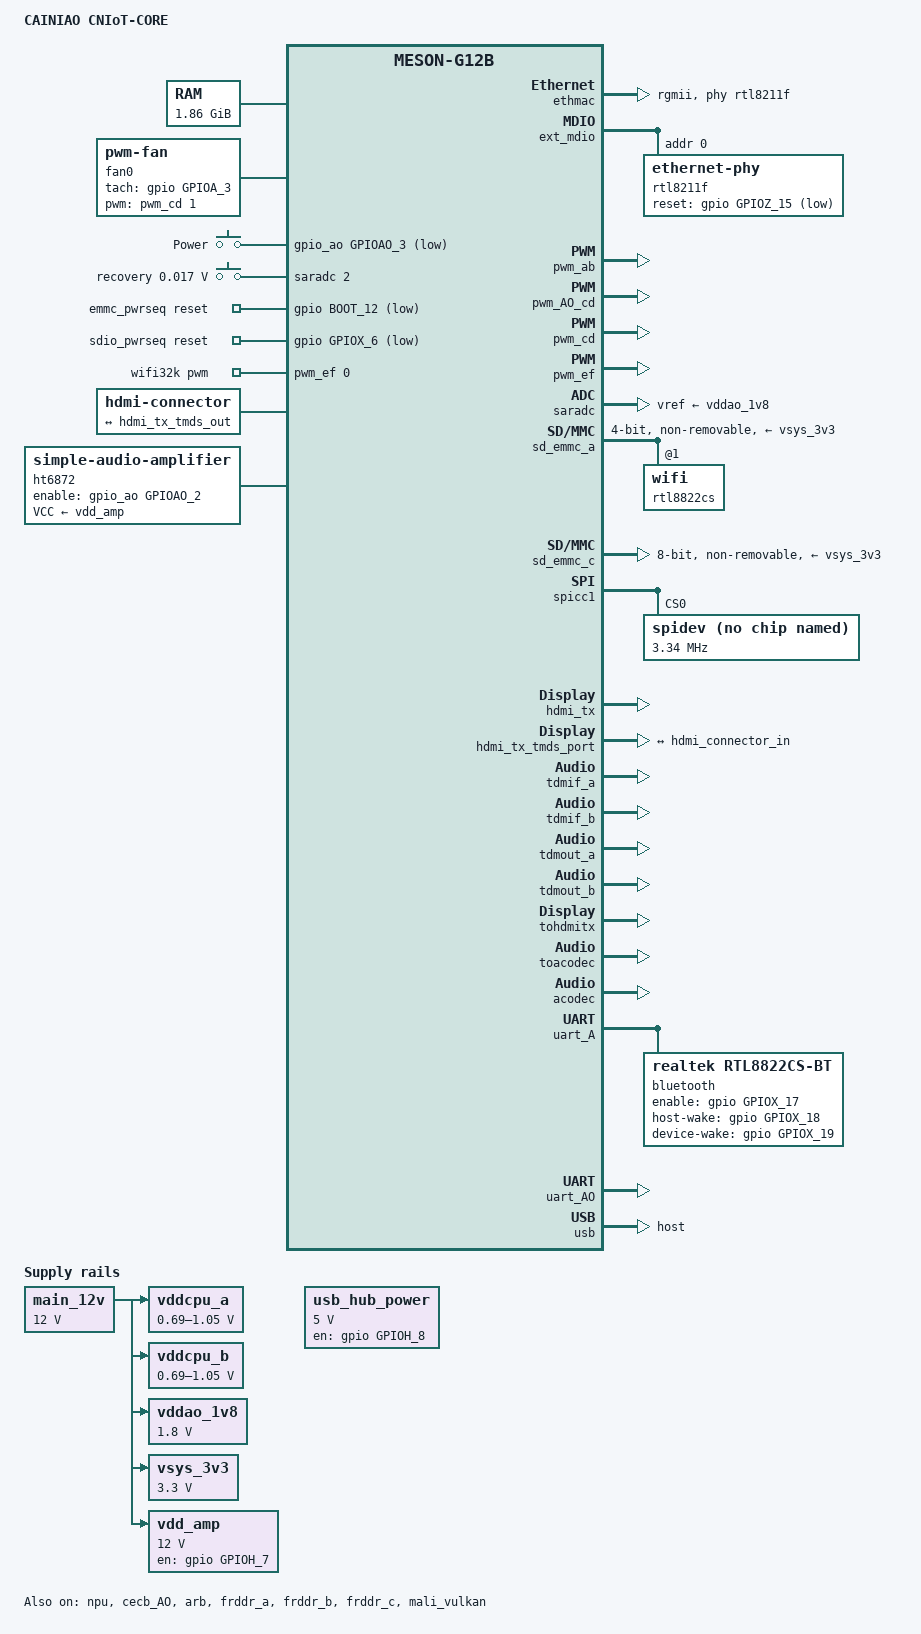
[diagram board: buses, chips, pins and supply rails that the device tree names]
// SPDX-License-Identifier: (GPL-2.0+ OR MIT)
/*
 * Copyright (c) 2025 ROCKNIX (https://github.com/ROCKNIX)
 *
 * Amlogic A311D (G12B) "CAINIAO CNIoT-CORE" / LEMO CORE A311D.
 *
 * P1 bring-up set: memory, CPU supplies/OPP, USB (root medium), HDMI,
 * debug UART, power/recovery keys and the dual GPU nodes (mali / mali_vulkan).
 *
 * P2 additions (this revision, adapted from the retro98boy/armbian-build
 * meson64-6.18 board file): RGMII Ethernet (RTL8211F on ext_mdio), eMMC,
 * SDIO WiFi RTL8822CS + BT (uart_A), axg sound card (TDM + tohdmitx/
 * toacodec + ht6872 speaker amplifier), pwm fan with tachometer,
 * WS2812 LEDs via spicc1/spidev, HDMI connector + CEC.
 *
 * Board-specific policies kept from P1 (differ from the armbian/batocera
 * reference):
 *  - GPU stack: "mali_vulkan" (arm,mali-midgard) is the vendor DDK
 *    (mali_kbase) node used by the default libmali stack; the panfrost
 *    node "mali" is kept but disabled. meson-g12b-a311d-cainiao-cniot-core-
 *    panfrost.dts flips them.
 *  - USB hub power enables of the dock are merged into usb_hub_power
 *    (GPIOH_8 + GPIOAO_6 + GPIOA_14 held high = side contacts selected).
 *  - adc-keys recovery button maps to KEY_POWER @ 17000uV.
 */

/dts-v1/;

#include <dt-bindings/clock/g12a-clkc.h>
#include <dt-bindings/gpio/gpio.h>
#include <dt-bindings/gpio/meson-g12a-gpio.h>
#include <dt-bindings/input/input.h>
#include <dt-bindings/interrupt-controller/arm-gic.h>
#include <dt-bindings/interrupt-controller/irq.h>
#include <dt-bindings/reset/amlogic,meson-g12a-reset.h>
#include <dt-bindings/sound/meson-g12a-toacodec.h>
#include <dt-bindings/sound/meson-g12a-tohdmitx.h>

#include "meson-g12b-a311d.dtsi"

/ {
	compatible = "cainiao,cniot-core", "amlogic,a311d", "amlogic,g12b";
	model = "CAINIAO CNIoT-CORE";

	aliases {
		serial0 = &uart_AO;
		ethernet0 = &ethmac;
		rtc1 = &vrtc;
	};

	chosen {
		stdout-path = "serial0:115200n8";
	};

	memory@0 {
		device_type = "memory";
		/* 2000MB, the size the vendor boot chain maps for this board */
		reg = <0x0 0x0 0x0 0x77359400>;
	};

	fan0: pwm-fan {
		compatible = "pwm-fan";
		#cooling-cells = <2>;
		cooling-levels = <0 120 170 220>;
		pwms = <&pwm_cd 1 40000 1>;
		tach-gpio = <&gpio GPIOA_3 GPIO_ACTIVE_HIGH>;
	};

	main_12v: regulator-main-12v {
		compatible = "regulator-fixed";
		regulator-name = "12V";
		regulator-min-microvolt = <12000000>;
		regulator-max-microvolt = <12000000>;
		regulator-always-on;
		regulator-boot-on;
	};

	vddcpu_a: regulator-vddcpu-a {
		compatible = "pwm-regulator";
		regulator-name = "VDDCPU_A";
		regulator-min-microvolt = <690000>;
		regulator-max-microvolt = <1050000>;
		pwm-supply = <&main_12v>;
		pwms = <&pwm_ab 0 1250 0>;
		pwm-dutycycle-range = <100 0>;
		regulator-boot-on;
		regulator-always-on;
	};

	vddcpu_b: regulator-vddcpu-b {
		compatible = "pwm-regulator";
		regulator-name = "VDDCPU_B";
		regulator-min-microvolt = <690000>;
		regulator-max-microvolt = <1050000>;
		pwm-supply = <&main_12v>;
		pwms = <&pwm_AO_cd 1 1250 0>;
		pwm-dutycycle-range = <100 0>;
		regulator-boot-on;
		regulator-always-on;
	};

	/* USB hub power enables of the dock (kept on during P1) */
	usb_hub_power: regulator-usb-hub-power {
		compatible = "regulator-fixed";
		regulator-name = "USB_HUB_POWER";
		gpios = <&gpio GPIOH_8 GPIO_ACTIVE_HIGH>,
			<&gpio_ao GPIOAO_6 GPIO_ACTIVE_HIGH>,
			<&gpio GPIOA_14 GPIO_ACTIVE_HIGH>;
		regulator-min-microvolt = <5000000>;
		regulator-max-microvolt = <5000000>;
		regulator-always-on;
		regulator-boot-on;
		enable-active-high;
	};

	vddao_1v8: regulator-vddao-1v8 {
		compatible = "regulator-fixed";
		regulator-name = "vddao_1v8";
		regulator-min-microvolt = <1800000>;
		regulator-max-microvolt = <1800000>;
		regulator-always-on;
		regulator-boot-on;
		vin-supply = <&main_12v>;
	};

	vsys_3v3: regulator-vsys-3v3 {
		compatible = "regulator-fixed";
		regulator-name = "vsys_3v3";
		regulator-min-microvolt = <3300000>;
		regulator-max-microvolt = <3300000>;
		regulator-always-on;
		regulator-boot-on;
		vin-supply = <&main_12v>;
	};

	/* Speaker amplifier supply (ht6872 VCC) */
	vdd_amp: regulator-vdd-amp {
		compatible = "regulator-fixed";
		regulator-name = "vdd_amp";
		regulator-min-microvolt = <12000000>;
		regulator-max-microvolt = <12000000>;
		enable-active-high;
		gpios = <&gpio GPIOH_7 GPIO_ACTIVE_HIGH>;
		regulator-always-on;
		regulator-boot-on;
		vin-supply = <&main_12v>;
	};

	keys {
		compatible = "gpio-keys-polled";
		poll-interval = <100>;

		power-button {
			label = "Power";
			linux,code = <KEY_POWER>;
			gpios = <&gpio_ao GPIOAO_3 GPIO_ACTIVE_LOW>;
			linux,wakeup;
		};
	};

	adc-keys {
		compatible = "adc-keys";
		io-channels = <&saradc 2>;
		io-channel-names = "buttons";
		keyup-threshold-microvolt = <1710000>;

		recovery-button {
			label = "recovery";
			linux,code = <KEY_POWER>;
			press-threshold-microvolt = <17000>;
		};
	};

	emmc_pwrseq: emmc-pwrseq {
		compatible = "mmc-pwrseq-emmc";
		reset-gpios = <&gpio BOOT_12 GPIO_ACTIVE_LOW>;
	};

	sdio_pwrseq: sdio-pwrseq {
		compatible = "mmc-pwrseq-simple";
		reset-gpios = <&gpio GPIOX_6 GPIO_ACTIVE_LOW>;
		clocks = <&wifi32k>;
		clock-names = "ext_clock";
	};

	wifi32k: wifi32k {
		compatible = "pwm-clock";
		#clock-cells = <0>;
		clock-frequency = <32768>;
		pwms = <&pwm_ef 0 30518 0>; /* PWM_E at 32.768KHz */
	};

	hdmi-connector {
		compatible = "hdmi-connector";
		type = "a";

		port {
			hdmi_connector_in: endpoint {
				remote-endpoint = <&hdmi_tx_tmds_out>;
			};
		};
	};

	ht6872: speaker-amplifier {
		compatible = "simple-audio-amplifier";
		enable-gpios = <&gpio_ao GPIOAO_2 GPIO_ACTIVE_HIGH>;
		VCC-supply = <&vdd_amp>;
		sound-name-prefix = "Speaker Amplifier";
	};

	sound {
		compatible = "amlogic,axg-sound-card";
		model = "cniot-core";
		audio-widgets = "Speaker", "Internal Speaker";
		audio-aux-devs = <&tdmout_a>, <&tdmout_b>, <&ht6872>;
		audio-routing = "TDMOUT_A IN 0", "FRDDR_A OUT 0",
				"TDMOUT_A IN 1", "FRDDR_B OUT 0",
				"TDMOUT_A IN 2", "FRDDR_C OUT 0",
				"TDM_A Playback", "TDMOUT_A OUT",
				"TDMOUT_B IN 0", "FRDDR_A OUT 1",
				"TDMOUT_B IN 1", "FRDDR_B OUT 1",
				"TDMOUT_B IN 2", "FRDDR_C OUT 1",
				"TDM_B Playback", "TDMOUT_B OUT",
				"Speaker Amplifier INL", "ACODEC LOLP",
				"Speaker Amplifier INR", "ACODEC LORP",
				"Internal Speaker", "Speaker Amplifier OUTL",
				"Internal Speaker", "Speaker Amplifier OUTR";

		clocks = <&clkc CLKID_MPLL2>,
			 <&clkc CLKID_MPLL0>,
			 <&clkc CLKID_MPLL1>;

		assigned-clocks = <&clkc CLKID_MPLL2>,
				  <&clkc CLKID_MPLL0>,
				  <&clkc CLKID_MPLL1>;
		assigned-clock-parents = <0>, <0>, <0>;
		assigned-clock-rates = <294912000>,
				       <270950400>,
				       <393216000>;

		dai-link-0 {
			sound-dai = <&frddr_a>;
		};

		dai-link-1 {
			sound-dai = <&frddr_b>;
		};

		dai-link-2 {
			sound-dai = <&frddr_c>;
		};

		/* 8ch hdmi interface */
		dai-link-3 {
			sound-dai = <&tdmif_a>;
			dai-format = "i2s";
			dai-tdm-slot-tx-mask-0 = <1 1>;
			dai-tdm-slot-tx-mask-1 = <1 1>;
			dai-tdm-slot-tx-mask-2 = <1 1>;
			dai-tdm-slot-tx-mask-3 = <1 1>;
			mclk-fs = <256>;

			codec-0 {
				sound-dai = <&tohdmitx TOHDMITX_I2S_IN_A>;
			};

			codec-1 {
				sound-dai = <&toacodec TOACODEC_IN_A>;
			};
		};

		/* 8ch hdmi interface */
		dai-link-4 {
			sound-dai = <&tdmif_b>;
			dai-format = "i2s";
			dai-tdm-slot-tx-mask-0 = <1 1>;
			dai-tdm-slot-tx-mask-1 = <1 1>;
			dai-tdm-slot-tx-mask-2 = <1 1>;
			dai-tdm-slot-tx-mask-3 = <1 1>;
			mclk-fs = <256>;

			codec-0 {
				sound-dai = <&tohdmitx TOHDMITX_I2S_IN_B>;
			};

			codec-1 {
				sound-dai = <&toacodec TOACODEC_IN_B>;
			};
		};

		/* hdmi glue */
		dai-link-5 {
			sound-dai = <&tohdmitx TOHDMITX_I2S_OUT>;

			codec {
				sound-dai = <&hdmi_tx>;
			};
		};

		/* acodec glue */
		dai-link-6 {
			sound-dai = <&toacodec TOACODEC_OUT>;

			codec {
				sound-dai = <&acodec>;
			};
		};
	};

	/* Vendor GPU DDK node (meson platform): default libmali stack */
	mali_vulkan: gpu_mali_vulkan@ffe40000 {
		compatible = "arm,mali-midgard";
		reg = <0x0 0xffe40000 0x0 0x40000>,
			<0x0 0xffd01000 0x0 0x1000>,
			<0x0 0xff800000 0x0 0x1000>,
			<0x0 0xff63c000 0x0 0x1000>;
		interrupt-parent = <&gic>;
		interrupts = <GIC_SPI 160 IRQ_TYPE_LEVEL_HIGH>,
			     <GIC_SPI 161 IRQ_TYPE_LEVEL_HIGH>,
			     <GIC_SPI 162 IRQ_TYPE_LEVEL_HIGH>;
		interrupt-names = "GPU", "MMU", "JOB";
		clocks = <&clkc CLKID_MALI>;
		clock-names = "clk_mali";
		resets = <&reset RESET_DVALIN_CAPB3>, <&reset RESET_DVALIN>;
		operating-points-v2 = <&gpu_opp_table>;
		#cooling-cells = <2>;
		system-coherency = <0>;
		power_policy = "always_on";
		status = "okay";
	};
};

/* Panfrost node: kept disabled, enabled by the *-panfrost dtb variant */
&mali {
	status = "disabled";
};

&cpu0 {
	cpu-supply = <&vddcpu_b>;
};

&cpu1 {
	cpu-supply = <&vddcpu_b>;
};

&cpu100 {
	cpu-supply = <&vddcpu_a>;
};

&cpu101 {
	cpu-supply = <&vddcpu_a>;
};

&cpu102 {
	cpu-supply = <&vddcpu_a>;
};

&cpu103 {
	cpu-supply = <&vddcpu_a>;
};

/*
 * Map the pwm fan to the CPU thermal zone (dtsi already has map0/map1
 * for the little/big clusters).
 */
&cpu_thermal {
	trips {
		cpu_active: cpu-active {
			temperature = <55000>; /* millicelsius */
			hysteresis = <5000>; /* millicelsius */
			type = "active";
		};
	};

	cooling-maps {
		map2 {
			trip = <&cpu_active>;
			cooling-device = <&fan0 THERMAL_NO_LIMIT THERMAL_NO_LIMIT>;
		};
	};
};

&ethmac {
	pinctrl-0 = <&eth_pins>, <&eth_rgmii_pins>;
	pinctrl-names = "default";
	status = "okay";
	phy-mode = "rgmii";
	phy-handle = <&rtl8211f>;
	amlogic,tx-delay-ns = <2>;
};

&ext_mdio {
	rtl8211f: ethernet-phy@0 {
		reg = <0>;
		max-speed = <1000>;

		reset-assert-us = <10000>;
		reset-deassert-us = <80000>;
		reset-gpios = <&gpio GPIOZ_15 (GPIO_ACTIVE_LOW | GPIO_OPEN_DRAIN)>;

		interrupt-parent = <&gpio_intc>;
		/* MAC_INTR on GPIOZ_14 */
		interrupts = <IRQID_GPIOZ_14 IRQ_TYPE_LEVEL_LOW>; /* tested by voltmeter */
	};
};

/* NPU (Vivante NNA @ 0xff100000): node is in meson-g12-common.dtsi,
 * power domain PWRC_G12A_NNA_ID added by meson-g12b.dtsi, driver is
 * etnaviv (CONFIG_DRM_ETNAVIV). */
&npu {
	status = "okay";
};

&pwm_ab {
	pinctrl-0 = <&pwm_a_e_pins>;
	pinctrl-names = "default";
	clocks = <&xtal>;
	clock-names = "clkin0";
	status = "okay";
};

&pwm_AO_cd {
	pinctrl-0 = <&pwm_ao_d_e_pins>;
	pinctrl-names = "default";
	clocks = <&xtal>;
	clock-names = "clkin1";
	status = "okay";
};

/* Fan PWM (pwm_d) */
&pwm_cd {
	pinctrl-0 = <&pwm_d_a_pins>;
	pinctrl-names = "default";
	status = "okay";
};

/* WiFi 32.768KHz clock (pwm_e) */
&pwm_ef {
	pinctrl-0 = <&pwm_e_pins>;
	pinctrl-names = "default";
	status = "okay";
};

&saradc {
	status = "okay";
	vref-supply = <&vddao_1v8>;
};

&sd_emmc_a {
	status = "okay";
	pinctrl-0 = <&sdio_pins>;
	pinctrl-1 = <&sdio_clk_gate_pins>;
	pinctrl-names = "default", "clk-gate";
	#address-cells = <1>;
	#size-cells = <0>;

	bus-width = <4>;
	max-frequency = <100000000>;
	cap-sdio-irq;
	cap-sd-highspeed;
	non-removable;

	/* WiFi firmware requires power in suspend */
	keep-power-in-suspend;
	mmc-pwrseq = <&sdio_pwrseq>;
	vmmc-supply = <&vsys_3v3>;
	vqmmc-supply = <&vddao_1v8>;

	rtl8822cs: wifi@1 {
		reg = <1>;
		/*
		 * tested by voltmeter
		 * WL_REG_ON GPIOX_6
		 * WL_WAKE_HOST GPIOX_5
		 */
	};
};

&sd_emmc_c {
	status = "okay";
	pinctrl-0 = <&emmc_ctrl_pins>, <&emmc_data_8b_pins>, <&emmc_ds_pins>;
	pinctrl-1 = <&emmc_clk_gate_pins>;
	pinctrl-names = "default", "clk-gate";

	max-frequency = <200000000>;
	bus-width = <8>;
	cap-mmc-highspeed;
	mmc-ddr-1_8v;
	mmc-hs200-1_8v;
	non-removable;

	mmc-pwrseq = <&emmc_pwrseq>;
	vmmc-supply = <&vsys_3v3>;
	vqmmc-supply = <&vddao_1v8>;
};

/*
 * GPIOH_4 is connected to 6 WS2812 LEDs.
 * Reusing GPIOH_4 as SPI MOSI to control the WS2812
 * offers superior performance compared to the GPIO method.
 */
&spicc1_pins {
	mux {
		groups = "spi1_mosi";
	};
};

/* Controlling WS2812 LEDs via spidev in user space. */
&spicc1 {
	status = "okay";
	pinctrl-0 = <&spicc1_pins>;
	pinctrl-names = "default";

	spidev@0 {
		compatible = "rohm,dh2228fv";
		reg = <0>;
		spi-max-frequency = <3340000>;
	};
};

&hdmi_tx {
	status = "okay";
	pinctrl-0 = <&hdmitx_hpd_pins>, <&hdmitx_ddc_pins>;
	pinctrl-names = "default", "hdmi_i2c";
};

&hdmi_tx_tmds_port {
	hdmi_tx_tmds_out: endpoint {
		remote-endpoint = <&hdmi_connector_in>;
	};
};

&cecb_AO {
	pinctrl-0 = <&cec_ao_b_h_pins>;
	pinctrl-names = "default";
	status = "okay";
	hdmi-phandle = <&hdmi_tx>;
};

/* Audio: DMAs */
&arb {
	status = "okay";
};

&frddr_a {
	status = "okay";
};

&frddr_b {
	status = "okay";
};

&frddr_c {
	status = "okay";
};

&clkc_audio {
	status = "okay";
};

&tdmif_a {
	status = "okay";
};

&tdmif_b {
	status = "okay";
};

&tdmout_a {
	status = "okay";
};

&tdmout_b {
	status = "okay";
};

&tohdmitx {
	status = "okay";
};

&toacodec {
	status = "okay";
};

&acodec {
	AVDD-supply = <&vddao_1v8>;
	status = "okay";
};

/* BT side of the RTL8822CS combo */
&uart_A {
	status = "okay";
	pinctrl-0 = <&uart_a_pins>, <&uart_a_cts_rts_pins>;
	pinctrl-names = "default";
	uart-has-rtscts;

	bluetooth {
		compatible = "realtek,rtl8822cs-bt";
		enable-gpios = <&gpio GPIOX_17 GPIO_ACTIVE_HIGH>; /* tested by voltmeter */
		host-wake-gpios = <&gpio GPIOX_18 GPIO_ACTIVE_HIGH>; /* tested by voltmeter */
		device-wake-gpios = <&gpio GPIOX_19 GPIO_ACTIVE_HIGH>; /* tested by voltmeter */
	};
};

&uart_AO {
	status = "okay";
	pinctrl-0 = <&uart_ao_a_pins>;
	pinctrl-names = "default";
};

&usb {
	status = "okay";
	dr_mode = "host";
};
